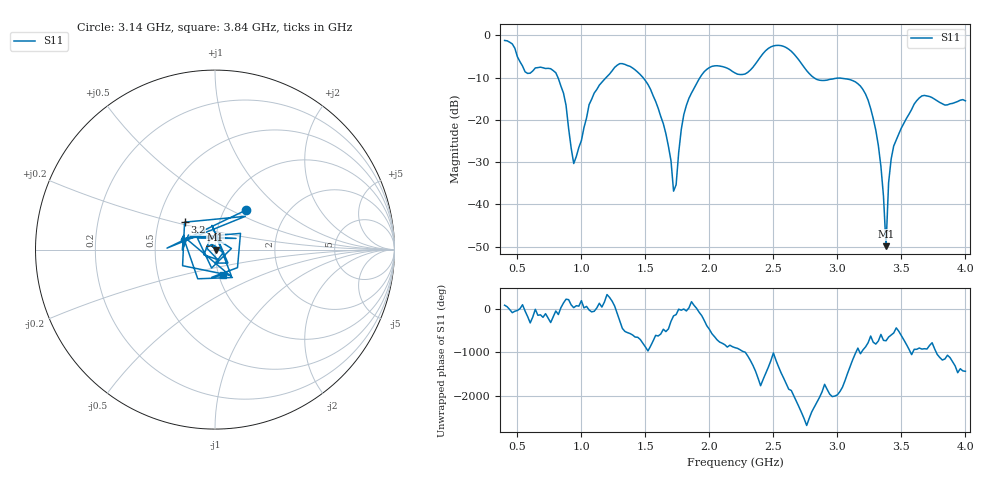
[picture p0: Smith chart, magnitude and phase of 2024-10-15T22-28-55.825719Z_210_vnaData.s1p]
! Created with skrf (http://scikit-rf.org).
# Hz S RI R 50.0
!freq ReS11 ImS11
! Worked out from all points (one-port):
!   181 points, 400 MHz to 4 GHz, reference 50 ohm
!   lowest |S11| = -49.9 dB at 3.38 GHz (marker M1), VSWR 1.01, Z = 50.3 - j0.0694 ohm
!   |S11| at or under -10 dB: 817 MHz to 1.193 GHz (376.4 MHz wide, 37.4 % of centre); 1.481 GHz to 1.926 GHz (445 MHz wide, 26.1 % of centre); 2.815 GHz to end of sweep
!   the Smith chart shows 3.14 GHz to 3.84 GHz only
!   S11 on the Smith chart (normalised r, x): 3.14 GHz: 1.26, +0.61; 3.2 GHz: 0.68, +0.22; 3.84 GHz: 1.05, -0.31
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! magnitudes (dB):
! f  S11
! 400 MHz  -1.2
! 800 MHz  -8.9
! 860 MHz  -13.7
! 940 MHz  -30.3
! 1.1 GHz  -13.7
! 1.3 GHz  -6.7
! 1.58 GHz  -15.6
! 1.68 GHz  -26.3
! 1.72 GHz  -36.9
! 1.76 GHz  -27.8
! 1.82 GHz  -16.6
! 1.94 GHz  -9.4
! 2.2 GHz  -8.9
! 2.5 GHz  -2.5
! 2.66 GHz  -4.4
! 2.84 GHz  -10.5
! 3.1 GHz  -10.5
! 3.14 GHz  -11.0
! 3.2 GHz  -12.8
! 3.32 GHz  -26.1
! 3.36 GHz  -38.0
! 3.38 GHz  -49.9
! 3.4 GHz  -34.9
! 3.42 GHz  -29.3
! 3.56 GHz  -18.6
! 3.66 GHz  -14.3
! 3.84 GHz  -16.5
! 4 GHz  -15.5
